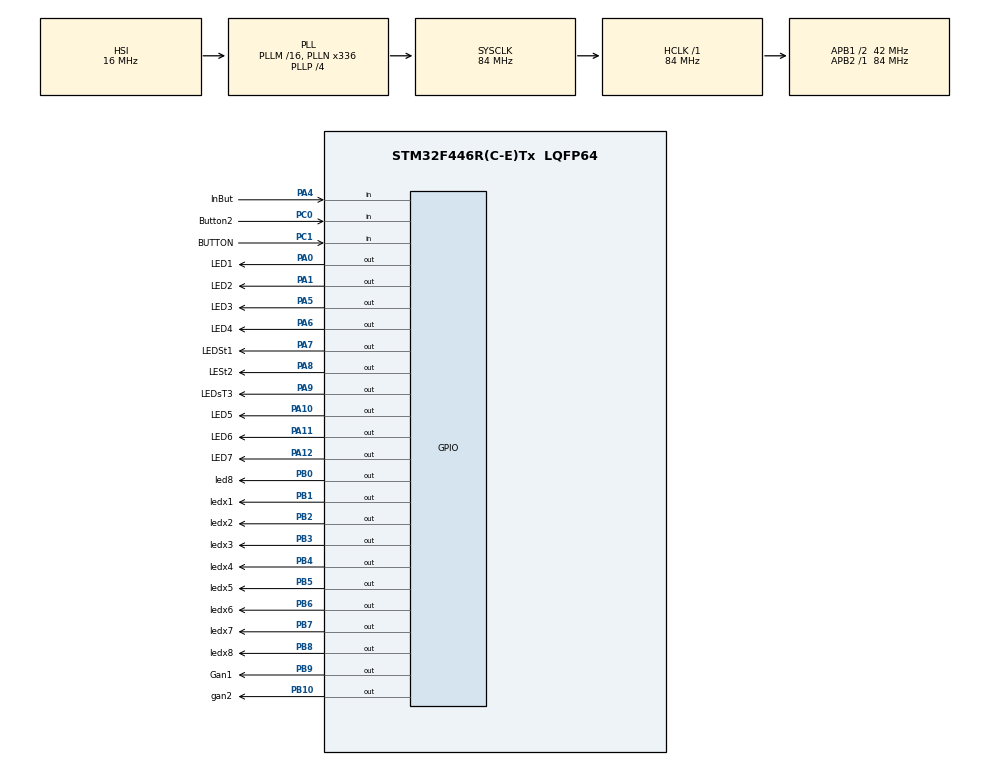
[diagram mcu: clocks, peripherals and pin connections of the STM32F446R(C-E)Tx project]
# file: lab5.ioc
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Mcu.Family=STM32F4
Mcu.Name=STM32F446R(C-E)Tx
Mcu.Package=LQFP64
NVIC.PriorityGroup=NVIC_PRIORITYGROUP_0
PA0-WKUP.GPIO_Label=LED1
PA0-WKUP.Signal=GPIO_Output
PA1.GPIO_Label=LED2
PA1.Signal=GPIO_Output
PA10.GPIO_Label=LED5
PA10.Signal=GPIO_Output
PA11.GPIO_Label=LED6
PA11.Signal=GPIO_Output
PA12.GPIO_Label=LED7
PA12.Signal=GPIO_Output
PA4.GPIO_Label=InBut
PA4.GPIO_PuPd=GPIO_PULLUP
PA4.Signal=GPIO_Input
PA5.GPIO_Label=LED3
PA5.Signal=GPIO_Output
PA6.GPIO_Label=LED4
PA6.Signal=GPIO_Output
PA7.GPIO_Label=LEDSt1
PA7.Signal=GPIO_Output
PA8.GPIO_Label=LESt2
PA8.Signal=GPIO_Output
PA9.GPIO_Label=LEDsT3
PA9.Signal=GPIO_Output
PB0.GPIO_Label=led8
PB0.Signal=GPIO_Output
PB1.GPIO_Label=ledx1
PB1.Signal=GPIO_Output
PB10.GPIO_Label=gan2
PB10.Signal=GPIO_Output
PB2.GPIO_Label=ledx2
PB2.Signal=GPIO_Output
PB3.GPIO_Label=ledx3
PB3.Signal=GPIO_Output
PB4.GPIO_Label=ledx4
PB4.Signal=GPIO_Output
PB5.GPIO_Label=ledx5
PB5.Signal=GPIO_Output
PB6.GPIO_Label=ledx6
PB6.Signal=GPIO_Output
PB7.GPIO_Label=ledx7
PB7.Signal=GPIO_Output
PB8.GPIO_Label=ledx8
PB8.Signal=GPIO_Output
PB9.GPIO_Label=Gan1
PB9.Signal=GPIO_Output
PC0.GPIO_Label=Button2
PC0.GPIO_PuPd=GPIO_PULLUP
PC0.Signal=GPIO_Input
PC1.GPIO_Label=BUTTON
PC1.GPIO_PuPd=GPIO_PULLUP
PC1.Signal=GPIO_Input
ProjectManager.HeapSize=0x200
ProjectManager.StackSize=0x400
ProjectManager.TargetToolchain=STM32CubeIDE
RCC.48MHZClocksFreq_Value=84000000
RCC.AHBFreq_Value=84000000
RCC.APB1CLKDivider=RCC_HCLK_DIV2
RCC.APB1Freq_Value=42000000
RCC.APB1TimFreq_Value=84000000
RCC.APB2Freq_Value=84000000
RCC.APB2TimFreq_Value=84000000
RCC.CortexFreq_Value=84000000
RCC.FLatency-AdvancedSettings=FLASH_LATENCY_2
RCC.HCLKFreq_Value=84000000
RCC.HSE_VALUE=8000000
RCC.HSI_VALUE=16000000
RCC.PLLN=336
RCC.PLLP=RCC_PLLP_DIV4
RCC.SYSCLKFreq_VALUE=84000000
RCC.SYSCLKSource=RCC_SYSCLKSOURCE_PLLCLK
RCC.USBFreq_Value=168000000
RCC.VCOOutputFreq_Value=336000000
board=NUCLEO-F446RE

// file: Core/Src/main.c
/* USER CODE BEGIN Header */
/**
  ******************************************************************************
  * @file           : main.c
  * @brief          : Main program body
  ******************************************************************************
  * @attention
  *
  * Copyright (c) 2024 STMicroelectronics.
  * All rights reserved.
  *
  * This software is licensed under terms that can be found in the LICENSE file
  * in the root directory of this software component.
  * If no LICENSE file comes with this software, it is provided AS-IS.
  *
  ******************************************************************************
  */
/* USER CODE END Header */
#include "main.h"

int contador = 0;
int contadorX = 0;
int gan = 0;

void SystemClock_Config(void);
static void MX_GPIO_Init(void);

int main(void)
{

  /* USER CODE BEGIN 1 */
  HAL_Init();
  SystemClock_Config();
  MX_GPIO_Init();
  /* USER CODE END 1 */

  /* MCU Configuration--------------------------------------------------------*/

  /* Reset of all peripherals, Initializes the Flash interface and the Systick. */
  HAL_Init();

  /* Configure the system clock */
  SystemClock_Config();

  /* Initialize all configured peripherals */
  MX_GPIO_Init();

  /* Infinite loop */
  /* USER CODE BEGIN WHILE */
  while (1)
  {
	 if(contador == 8){
	  		HAL_GPIO_WritePin(GPIOB, GPIO_PIN_9, GPIO_PIN_SET);
	  		gan = 1;
	  		HAL_GPIO_WritePin(GPIOA, GPIO_PIN_9, GPIO_PIN_RESET);
	  	  } else if(contadorX == 8){
	  		HAL_GPIO_WritePin(GPIOB, GPIO_PIN_10, GPIO_PIN_SET);
	  		gan = 1;
	  		HAL_GPIO_WritePin(GPIOA, GPIO_PIN_9, GPIO_PIN_RESET);
	  	  }

      if (HAL_GPIO_ReadPin(GPIOA, GPIO_PIN_4) == GPIO_PIN_RESET)
      {
    	  //GANADOR
    	  HAL_GPIO_WritePin(GPIOB, GPIO_PIN_9, GPIO_PIN_RESET);
    	  HAL_GPIO_WritePin(GPIOB, GPIO_PIN_10, GPIO_PIN_RESET);
    	  //jugador 1
    	  HAL_GPIO_WritePin(GPIOA, GPIO_PIN_0, GPIO_PIN_RESET);
    	  HAL_GPIO_WritePin(GPIOA, GPIO_PIN_1, GPIO_PIN_RESET);
    	  HAL_GPIO_WritePin(GPIOA, GPIO_PIN_5, GPIO_PIN_RESET);
    	  HAL_GPIO_WritePin(GPIOA, GPIO_PIN_6, GPIO_PIN_RESET);
    	  HAL_GPIO_WritePin(GPIOA, GPIO_PIN_10, GPIO_PIN_RESET);
    	  HAL_GPIO_WritePin(GPIOA, GPIO_PIN_11, GPIO_PIN_RESET);
    	  HAL_GPIO_WritePin(GPIOA, GPIO_PIN_12, GPIO_PIN_RESET);
    	  HAL_GPIO_WritePin(GPIOB, GPIO_PIN_0, GPIO_PIN_RESET);
    	  //jugador 2
    	  HAL_GPIO_WritePin(GPIOB, GPIO_PIN_1, GPIO_PIN_RESET);
    	  HAL_GPIO_WritePin(GPIOB, GPIO_PIN_2, GPIO_PIN_RESET);
    	  HAL_GPIO_WritePin(GPIOB, GPIO_PIN_3, GPIO_PIN_RESET);
    	  HAL_GPIO_WritePin(GPIOB, GPIO_PIN_4, GPIO_PIN_RESET);
    	  HAL_GPIO_WritePin(GPIOB, GPIO_PIN_5, GPIO_PIN_RESET);
    	  HAL_GPIO_WritePin(GPIOB, GPIO_PIN_6, GPIO_PIN_RESET);
    	  HAL_GPIO_WritePin(GPIOB, GPIO_PIN_7, GPIO_PIN_RESET);
    	  HAL_GPIO_WritePin(GPIOB, GPIO_PIN_8, GPIO_PIN_RESET);
    	  //semaforo
          HAL_GPIO_WritePin(GPIOA, GPIO_PIN_9, GPIO_PIN_RESET);
          HAL_GPIO_WritePin(GPIOA, GPIO_PIN_7, GPIO_PIN_SET);
          HAL_Delay(1000);
          HAL_GPIO_WritePin(GPIOA, GPIO_PIN_7, GPIO_PIN_RESET);
          HAL_Delay(100);
          HAL_GPIO_WritePin(GPIOA, GPIO_PIN_8, GPIO_PIN_SET);
          HAL_Delay(1000);
          HAL_GPIO_WritePin(GPIOA, GPIO_PIN_8, GPIO_PIN_RESET);
          HAL_Delay(100);
          HAL_GPIO_WritePin(GPIOA, GPIO_PIN_9, GPIO_PIN_SET);
          //ganador
          gan = 0;
          contador =0;
          contadorX =0;
      }

      if (HAL_GPIO_ReadPin(GPIOA, GPIO_PIN_9) == GPIO_PIN_SET && gan == 0)
      {
          if (HAL_GPIO_ReadPin(GPIOC, GPIO_PIN_1) == GPIO_PIN_RESET)
          {
              HAL_Delay(200);
              contador++;
              if (contador > 8)
              {
                  contador = 0;
              }
              switch (contador)
              {
                  case 1:
                      HAL_GPIO_WritePin(GPIOA, GPIO_PIN_0, GPIO_PIN_SET);
                      break;
                  case 2:
                      HAL_GPIO_WritePin(GPIOA, GPIO_PIN_1, GPIO_PIN_SET);
                      break;
                  case 3:
                      HAL_GPIO_WritePin(GPIOA, GPIO_PIN_5, GPIO_PIN_SET);
                      break;
                  case 4:
                      HAL_GPIO_WritePin(GPIOA, GPIO_PIN_6, GPIO_PIN_SET);
                      break;
                  case 5:
                      HAL_GPIO_WritePin(GPIOA, GPIO_PIN_10, GPIO_PIN_SET);
                      break;
                  case 6:
                      HAL_GPIO_WritePin(GPIOA, GPIO_PIN_11, GPIO_PIN_SET);
                      break;
                  case 7:
                      HAL_GPIO_WritePin(GPIOA, GPIO_PIN_12, GPIO_PIN_SET);
                      break;
                  case 8:
                      HAL_GPIO_WritePin(GPIOB, GPIO_PIN_0, GPIO_PIN_SET);
                      break;
                  default:
                      HAL_GPIO_WritePin(GPIOA, GPIO_PIN_0, GPIO_PIN_RESET);
                      HAL_GPIO_WritePin(GPIOA, GPIO_PIN_1, GPIO_PIN_RESET);
                      HAL_GPIO_WritePin(GPIOA, GPIO_PIN_5, GPIO_PIN_RESET);
                      HAL_GPIO_WritePin(GPIOA, GPIO_PIN_6, GPIO_PIN_RESET);
                      HAL_GPIO_WritePin(GPIOA, GPIO_PIN_10, GPIO_PIN_RESET);
                      HAL_GPIO_WritePin(GPIOA, GPIO_PIN_11, GPIO_PIN_RESET);
                      HAL_GPIO_WritePin(GPIOA, GPIO_PIN_12, GPIO_PIN_RESET);
                      HAL_GPIO_WritePin(GPIOB, GPIO_PIN_0, GPIO_PIN_RESET);
                      break;
              }
          }

          if (HAL_GPIO_ReadPin(GPIOC, GPIO_PIN_0) == GPIO_PIN_RESET)
          {
              HAL_Delay(200);
              contadorX++;
              if (contadorX > 8)
              {
                  contadorX = 0;
              }
              switch (contadorX)
              {
                  case 1:
                      HAL_GPIO_WritePin(GPIOB, GPIO_PIN_1, GPIO_PIN_SET);
                      break;
                  case 2:
                      HAL_GPIO_WritePin(GPIOB, GPIO_PIN_2, GPIO_PIN_SET);
                      break;
                  case 3:
                      HAL_GPIO_WritePin(GPIOB, GPIO_PIN_3, GPIO_PIN_SET);
                      break;
                  case 4:
                      HAL_GPIO_WritePin(GPIOB, GPIO_PIN_4, GPIO_PIN_SET);
                      break;
                  case 5:
                      HAL_GPIO_WritePin(GPIOB, GPIO_PIN_5, GPIO_PIN_SET);
                      break;
                  case 6:
                      HAL_GPIO_WritePin(GPIOB, GPIO_PIN_6, GPIO_PIN_SET);
                      break;
                  case 7:
                      HAL_GPIO_WritePin(GPIOB, GPIO_PIN_7, GPIO_PIN_SET);
                      break;
                  case 8:
                      HAL_GPIO_WritePin(GPIOB, GPIO_PIN_8, GPIO_PIN_SET);
                      break;
                  default:
                      HAL_GPIO_WritePin(GPIOB, GPIO_PIN_1, GPIO_PIN_RESET);
                      HAL_GPIO_WritePin(GPIOB, GPIO_PIN_2, GPIO_PIN_RESET);
                      HAL_GPIO_WritePin(GPIOB, GPIO_PIN_3, GPIO_PIN_RESET);
                      HAL_GPIO_WritePin(GPIOB, GPIO_PIN_4, GPIO_PIN_RESET);
                      HAL_GPIO_WritePin(GPIOB, GPIO_PIN_5, GPIO_PIN_RESET);
                      HAL_GPIO_WritePin(GPIOB, GPIO_PIN_6, GPIO_PIN_RESET);
                      HAL_GPIO_WritePin(GPIOB, GPIO_PIN_7, GPIO_PIN_RESET);
                      HAL_GPIO_WritePin(GPIOB, GPIO_PIN_8, GPIO_PIN_RESET);
                      break;
              }
          }
      }

  }
    /* USER CODE END WHILE */

}

void SystemClock_Config(void)
{
  RCC_OscInitTypeDef RCC_OscInitStruct = {0};
  RCC_ClkInitTypeDef RCC_ClkInitStruct = {0};

  /** Configure the main internal regulator output voltage
  */
  __HAL_RCC_PWR_CLK_ENABLE();
  __HAL_PWR_VOLTAGESCALING_CONFIG(PWR_REGULATOR_VOLTAGE_SCALE3);

  /** Initializes the RCC Oscillators according to the specified parameters
  * in the RCC_OscInitTypeDef structure.
  */
  RCC_OscInitStruct.OscillatorType = RCC_OSCILLATORTYPE_HSI;
  RCC_OscInitStruct.HSIState = RCC_HSI_ON;
  RCC_OscInitStruct.HSICalibrationValue = RCC_HSICALIBRATION_DEFAULT;
  RCC_OscInitStruct.PLL.PLLState = RCC_PLL_ON;
  RCC_OscInitStruct.PLL.PLLSource = RCC_PLLSOURCE_HSI;
  RCC_OscInitStruct.PLL.PLLM = 16;
  RCC_OscInitStruct.PLL.PLLN = 336;
  RCC_OscInitStruct.PLL.PLLP = RCC_PLLP_DIV4;
  RCC_OscInitStruct.PLL.PLLQ = 2;
  RCC_OscInitStruct.PLL.PLLR = 2;
  if (HAL_RCC_OscConfig(&RCC_OscInitStruct) != HAL_OK)
  {
    Error_Handler();
  }

  /** Initializes the CPU, AHB and APB buses clocks
  */
  RCC_ClkInitStruct.ClockType = RCC_CLOCKTYPE_HCLK|RCC_CLOCKTYPE_SYSCLK
                              |RCC_CLOCKTYPE_PCLK1|RCC_CLOCKTYPE_PCLK2;
  RCC_ClkInitStruct.SYSCLKSource = RCC_SYSCLKSOURCE_PLLCLK;
  RCC_ClkInitStruct.AHBCLKDivider = RCC_SYSCLK_DIV1;
  RCC_ClkInitStruct.APB1CLKDivider = RCC_HCLK_DIV2;
  RCC_ClkInitStruct.APB2CLKDivider = RCC_HCLK_DIV1;

  if (HAL_RCC_ClockConfig(&RCC_ClkInitStruct, FLASH_LATENCY_2) != HAL_OK)
  {
    Error_Handler();
  }
}

static void MX_GPIO_Init(void)
{
  GPIO_InitTypeDef GPIO_InitStruct = {0};

  /* GPIO Ports Clock Enable */
  __HAL_RCC_GPIOC_CLK_ENABLE();
  __HAL_RCC_GPIOA_CLK_ENABLE();
  __HAL_RCC_GPIOB_CLK_ENABLE();

  /*Configure GPIO pin Output Level */
  HAL_GPIO_WritePin(GPIOA, LED1_Pin|LED2_Pin|LED3_Pin|LED4_Pin
                          |LEDSt1_Pin|LESt2_Pin|LEDsT3_Pin|LED5_Pin
                          |LED6_Pin|LED7_Pin, GPIO_PIN_RESET);

  /*Configure GPIO pin Output Level */
  HAL_GPIO_WritePin(GPIOB, led8_Pin|ledx1_Pin|ledx2_Pin|gan2_Pin
                          |ledx3_Pin|ledx4_Pin|ledx5_Pin|ledx6_Pin
                          |ledx7_Pin|ledx8_Pin|Gan1_Pin, GPIO_PIN_RESET);

  /*Configure GPIO pins : Button2_Pin BUTTON_Pin */
  GPIO_InitStruct.Pin = Button2_Pin|BUTTON_Pin;
  GPIO_InitStruct.Mode = GPIO_MODE_INPUT;
  GPIO_InitStruct.Pull = GPIO_PULLUP;
  HAL_GPIO_Init(GPIOC, &GPIO_InitStruct);

  /*Configure GPIO pins : LED1_Pin LED2_Pin LED3_Pin LED4_Pin
                           LEDSt1_Pin LESt2_Pin LEDsT3_Pin LED5_Pin
                           LED6_Pin LED7_Pin */
  GPIO_InitStruct.Pin = LED1_Pin|LED2_Pin|LED3_Pin|LED4_Pin
                          |LEDSt1_Pin|LESt2_Pin|LEDsT3_Pin|LED5_Pin
                          |LED6_Pin|LED7_Pin;
  GPIO_InitStruct.Mode = GPIO_MODE_OUTPUT_PP;
  GPIO_InitStruct.Pull = GPIO_NOPULL;
  GPIO_InitStruct.Speed = GPIO_SPEED_FREQ_LOW;
  HAL_GPIO_Init(GPIOA, &GPIO_InitStruct);

  /*Configure GPIO pin : InBut_Pin */
  GPIO_InitStruct.Pin = InBut_Pin;
  GPIO_InitStruct.Mode = GPIO_MODE_INPUT;
  GPIO_InitStruct.Pull = GPIO_PULLUP;
  HAL_GPIO_Init(InBut_GPIO_Port, &GPIO_InitStruct);

  /*Configure GPIO pins : led8_Pin ledx1_Pin ledx2_Pin gan2_Pin
                           ledx3_Pin ledx4_Pin ledx5_Pin ledx6_Pin
                           ledx7_Pin ledx8_Pin Gan1_Pin */
  GPIO_InitStruct.Pin = led8_Pin|ledx1_Pin|ledx2_Pin|gan2_Pin
                          |ledx3_Pin|ledx4_Pin|ledx5_Pin|ledx6_Pin
                          |ledx7_Pin|ledx8_Pin|Gan1_Pin;
  GPIO_InitStruct.Mode = GPIO_MODE_OUTPUT_PP;
  GPIO_InitStruct.Pull = GPIO_NOPULL;
  GPIO_InitStruct.Speed = GPIO_SPEED_FREQ_LOW;
  HAL_GPIO_Init(GPIOB, &GPIO_InitStruct);

}

void Error_Handler(void)
{
  __disable_irq();
  while (1)
  {
  }
}
